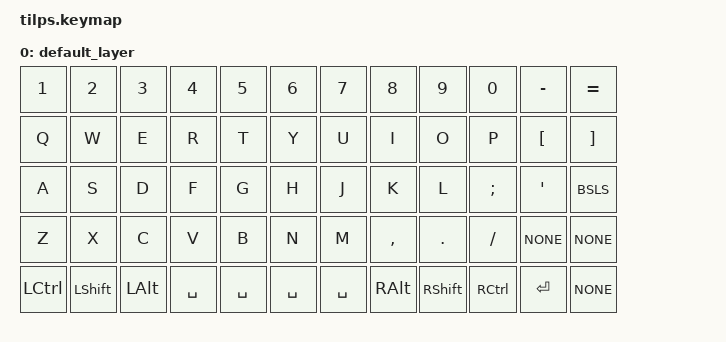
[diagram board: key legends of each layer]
/*
 * Copyright (c) 2020 The ZMK Contributors
 *
 * SPDX-License-Identifier: MIT
 */

#include <behaviors.dtsi>
#include <dt-bindings/zmk/keys.h>
#include <dt-bindings/zmk/bt.h>
#include <dt-bindings/zmk/ext_power.h>

&lt { quick_tap_ms = <220>; };
&mt { quick_tap_ms = <220>; };

/ {
    keymap {
        compatible = "zmk,keymap";

        default_layer {
            // 12x5 layout with number row on top
            bindings = <
                &kp 1 &kp 2 &kp 3 &kp 4 &kp 5 &kp 6 &kp 7 &kp 8 &kp 9 &kp 0 &kp MINUS &kp EQUAL
                &kp Q &kp W &kp E &kp R &kp T &kp Y &kp U &kp I &kp O &kp P &kp LBKT &kp RBKT
                &kp A &kp S &kp D &kp F &kp G &kp H &kp J &kp K &kp L &kp SEMI &kp QUOT &kp BSLS
                &kp Z &kp X &kp C &kp V &kp B &kp N &kp M &kp COMMA &kp DOT &kp SLASH &kp NONE &kp NONE
                &kp LCTRL &kp LSHIFT &kp LALT &kp SPACE &kp SPACE &kp SPACE &kp SPACE &kp RALT &kp RSHIFT &kp RCTRL &kp ENTER &kp NONE
            >;
        };
    };
};
